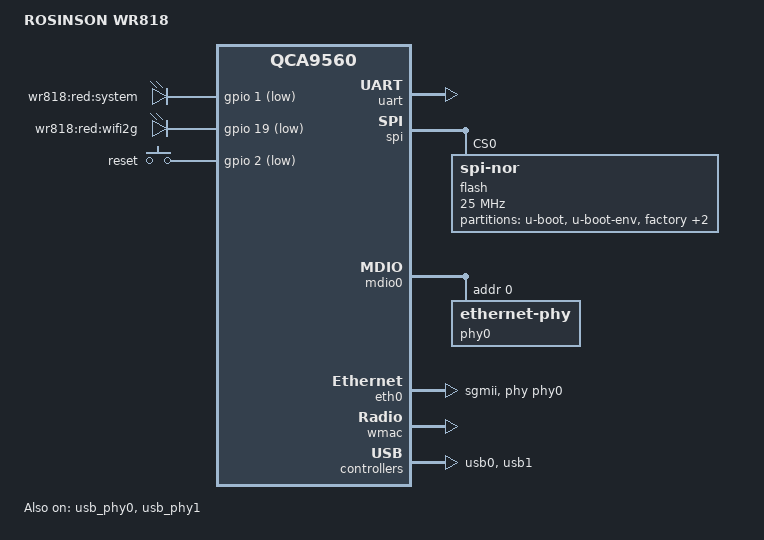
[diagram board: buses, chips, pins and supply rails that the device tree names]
// SPDX-License-Identifier: GPL-2.0-or-later OR MIT
/dts-v1/;

#include <dt-bindings/gpio/gpio.h>
#include <dt-bindings/input/input.h>

#include "qca956x.dtsi"

/ {
	model = "ROSINSON WR818";
	compatible = "rosinson,wr818", "qca,qca9560";

	chosen {
		bootargs = "console=ttyS0,115200n8";
	};

	aliases {
		led-boot = &system;
		led-failsafe = &system;
		led-running = &system;
		led-upgrade = &system;
	};

	gpio_leds: leds {
		compatible = "gpio-leds";

		system: system {
			label = "wr818:red:system";
			gpios = <&gpio 1 GPIO_ACTIVE_LOW>;
		};

		wifi_2g {
			label = "wr818:red:wifi2g";
			gpios = <&gpio 19 GPIO_ACTIVE_LOW>;
			linux,default-trigger = "phy0tpt";
		};
	};

	keys {
		compatible = "gpio-keys";

		reset {
			label = "reset";
			linux,code = <KEY_RESTART>;
			gpios = <&gpio 2 GPIO_ACTIVE_LOW>;
			debounce-interval = <60>;
		};
	};
};

&uart {
	status = "okay";
};

&gpio {
	status = "okay";
};

&spi {
	num-cs = <1>;

	status = "okay";

	flash@0 {
		compatible = "jedec,spi-nor";
		reg = <0>;
		spi-max-frequency = <25000000>;

		partitions {
			compatible = "fixed-partitions";
			#address-cells = <1>;
			#size-cells = <1>;

			partition@0 {
				label = "u-boot";
				reg = <0x000000 0x040000>;
				read-only;
			};

			partition@40000 {
				label = "u-boot-env";
				reg = <0x040000 0x010000>;
				read-only;
			};

			info: partition@50000 {
				label = "factory";
				reg = <0x050000 0x010000>;
				read-only;
			};

			partition@60000 {
				compatible = "denx,uimage";
				label = "firmware";
				reg = <0x060000 0xf80000>;
			};

			art: partition@ff0000 {
				label = "art";
				reg = <0xff0000 0x010000>;
				read-only;
			};
		};
	};
};

&mdio0 {
	status = "okay";

	phy-mask = <0>;
	phy0: ethernet-phy@0 {
		reg = <0>;
		phy-mode = "sgmii";

		qca,ar8327-initvals = <
			0x04 0x00080080 /* PORT0 PAD MODE CTRL */
			0x7c 0x0000007e /* PORT0_STATUS */
		>;
	};
};

&eth0 {
	status = "okay";

	mtd-mac-address = <&info 0x0>;
	phy-mode = "sgmii";
	phy-handle = <&phy0>;
};

&wmac {
	status = "okay";
	mtd-cal-data = <&art 0x1000>;
};

&usb_phy0 {
	status = "okay";
};

&usb0 {
	#address-cells = <1>;
	#size-cells = <0>;
	status = "okay";

	port@1 {
		reg = <1>;
		#trigger-source-cells = <0>;
	};
};

&usb_phy1 {
	status = "okay";
};

&usb1 {
	#address-cells = <1>;
	#size-cells = <0>;
	status = "okay";

	port@2 {
		reg = <2>;
		#trigger-source-cells = <0>;
	};
};
